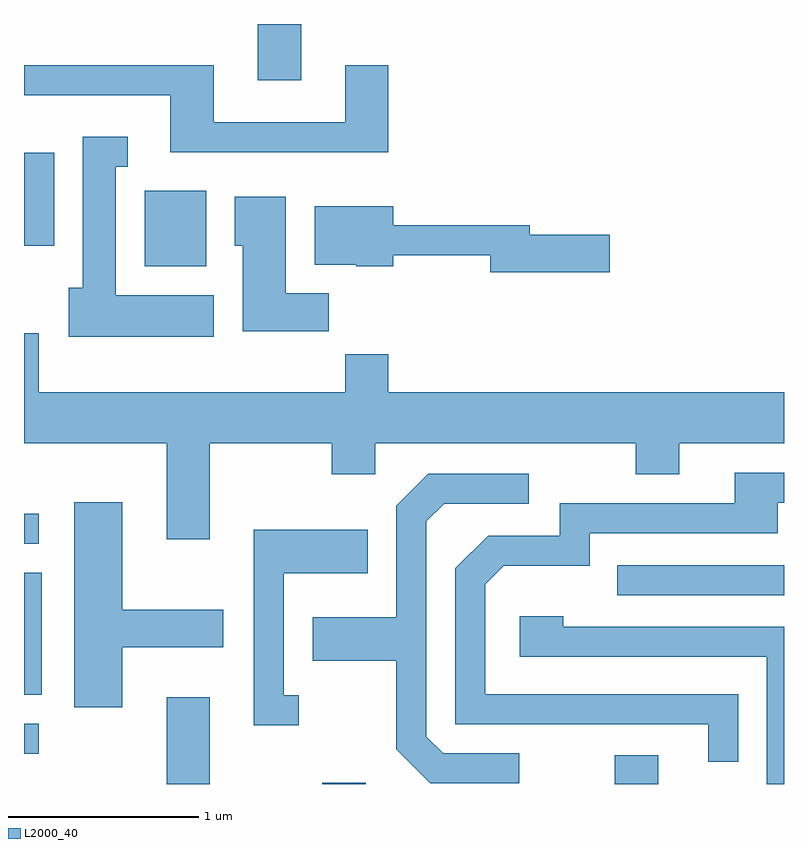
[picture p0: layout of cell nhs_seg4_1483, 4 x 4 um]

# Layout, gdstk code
import gdstk
lib = gdstk.Library(unit=1e-6, precision=1e-09)
def R(c, l, rs):  # rectangles x0, y0, x1, y1
    for r in rs: c.add(gdstk.rectangle(r[:2], r[2:], *l))
def P(c, l, *ps):  # polygons
    for p in ps: c.add(gdstk.Polygon(p, *l))
L2000_40 = (2000, 40)

nhs_seg4_1483 = lib.new_cell('nhs_seg4_1483')
R(nhs_seg4_1483, L2000_40, [(228.361,1363.982,228.589,1364.439), (229.181,1363.982,229.409,1363.989), (230.721,1363.982,230.949,1364.134), (227.611,1364.141,227.688,1364.299), (227.611,1364.451,227.704,1365.094), (230.733,1364.976,231.611,1365.134), (227.611,1365.246,227.688,1365.404), (228.246,1366.706,228.569,1367.104), (227.611,1366.816,227.769,1367.304), (228.841,1367.686,229.069,1367.982)])
P(nhs_seg4_1483, L2000_40, [(229.529,1367.764),(229.301,1367.764),(229.301,1367.464),(228.609,1367.464),(228.609,1367.764),(227.611,1367.764),(227.611,1367.606),(228.381,1367.606),(228.381,1367.306),(229.529,1367.306)],
  [(228.609,1366.554),(228.094,1366.554),(228.094,1367.231),(228.158,1367.231),(228.158,1367.389),(227.921,1367.389),(227.921,1366.594),(227.846,1366.594),(227.846,1366.336),(228.609,1366.336)],
  [(229.214,1366.564),(228.989,1366.564),(228.989,1367.074),(228.721,1367.074),(228.721,1366.816),(228.761,1366.816),(228.761,1366.366),(229.214,1366.366)],
  [(230.694,1366.874),(230.274,1366.874),(230.274,1366.924),(229.554,1366.924),(229.554,1367.024),(229.141,1367.024),(229.141,1366.716),(229.36,1366.716),(229.36,1366.706),(229.554,1366.706),(229.554,1366.766),(230.066,1366.766),(230.066,1366.676),(230.694,1366.676)],
  [(228.589,1365.776),(229.231,1365.776),(229.231,1365.611),(229.459,1365.611),(229.459,1365.776),(230.831,1365.776),(230.831,1365.611),(231.059,1365.611),(231.059,1365.776),(231.611,1365.776),(231.611,1366.044),(229.529,1366.044),(229.529,1366.244),(229.301,1366.244),(229.301,1366.044),(227.689,1366.044),(227.689,1366.354),(227.611,1366.354),(227.611,1365.776),(228.361,1365.776),(228.361,1365.271),(228.589,1365.271)],
  [(231.369,1364.454),(230.039,1364.454),(230.039,1365.034),(230.137,1365.131),(230.589,1365.131),(230.589,1365.301),(231.579,1365.301),(231.579,1365.461),(231.611,1365.461),(231.611,1365.619),(231.351,1365.619),(231.351,1365.459),(230.431,1365.459),(230.431,1365.289),(230.054,1365.289),(229.881,1365.117),(229.881,1364.296),(231.211,1364.296),(231.211,1364.098),(231.369,1364.098)],
  [(230.218,1364.144),(229.817,1364.144),(229.729,1364.232),(229.729,1365.364),(229.822,1365.456),(230.268,1365.456),(230.268,1365.614),(229.739,1365.614),(229.571,1365.447),(229.571,1364.859),(229.131,1364.859),(229.131,1364.631),(229.571,1364.631),(229.571,1364.164),(229.749,1363.986),(230.218,1363.986)],
  [(228.129,1364.701),(228.659,1364.701),(228.659,1364.899),(228.129,1364.899),(228.129,1365.464),(227.876,1365.464),(227.876,1364.386),(228.129,1364.386)],
  [(229.058,1364.449),(228.979,1364.449),(228.979,1365.091),(229.419,1365.091),(229.419,1365.319),(228.821,1365.319),(228.821,1364.291),(229.058,1364.291)],
  [(231.611,1364.809),(230.449,1364.809),(230.449,1364.864),(230.221,1364.864),(230.221,1364.651),(231.521,1364.651),(231.521,1363.982),(231.611,1363.982)])

lib.write_gds('nhs_seg4_1483.gds')
